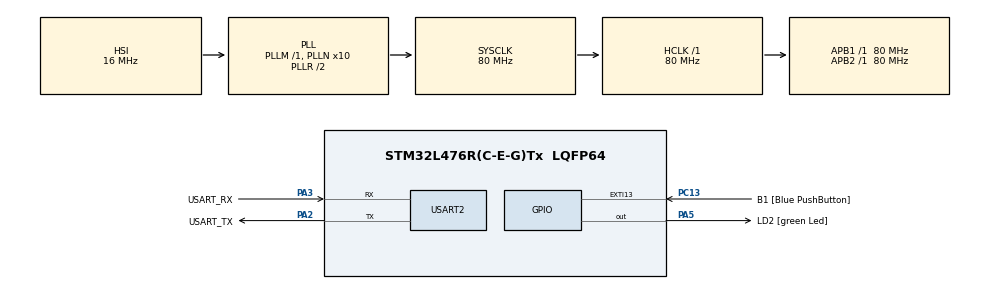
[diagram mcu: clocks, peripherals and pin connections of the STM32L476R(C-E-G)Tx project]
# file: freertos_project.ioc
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Mcu.Family=STM32L4
Mcu.Name=STM32L476R(C-E-G)Tx
Mcu.Package=LQFP64
NVIC.PriorityGroup=NVIC_PRIORITYGROUP_4
NVIC.TIM6_DAC_IRQn=true\:15\:0\:false\:false\:true\:false\:true\:true
NVIC.TimeBase=TIM6_DAC_IRQn
NVIC.TimeBaseIP=TIM6
PA13\ (JTMS-SWDIO).GPIO_Label=TMS
PA13\ (JTMS-SWDIO).Signal=SYS_JTMS-SWDIO
PA14\ (JTCK-SWCLK).GPIO_Label=TCK
PA14\ (JTCK-SWCLK).Signal=SYS_JTCK-SWCLK
PA2.GPIO_Label=USART_TX
PA2.GPIO_Mode=GPIO_MODE_AF_PP
PA2.GPIO_PuPd=GPIO_NOPULL
PA2.GPIO_Speed=GPIO_SPEED_FREQ_VERY_HIGH
PA2.Mode=Asynchronous
PA2.Signal=USART2_TX
PA3.GPIO_Label=USART_RX
PA3.GPIO_Mode=GPIO_MODE_AF_PP
PA3.GPIO_PuPd=GPIO_NOPULL
PA3.GPIO_Speed=GPIO_SPEED_FREQ_VERY_HIGH
PA3.Mode=Asynchronous
PA3.Signal=USART2_RX
PA5.GPIO_Label=LD2 [green Led]
PA5.GPIO_ModeDefaultOutputPP=GPIO_MODE_OUTPUT_PP
PA5.GPIO_PuPd=GPIO_NOPULL
PA5.GPIO_Speed=GPIO_SPEED_FREQ_LOW
PA5.Signal=GPIO_Output
PB3\ (JTDO-TRACESWO).GPIO_Label=SWO
PB3\ (JTDO-TRACESWO).Signal=SYS_JTDO-SWO
PC13.GPIO_Label=B1 [Blue PushButton]
PC13.GPIO_ModeDefaultEXTI=GPIO_MODE_IT_FALLING
PC13.GPIO_PuPd=GPIO_NOPULL
PC13.Signal=GPXTI13
PC14-OSC32_IN\ (PC14).Signal=RCC_OSC32_IN
PC15-OSC32_OUT\ (PC15).Signal=RCC_OSC32_OUT
PH0-OSC_IN\ (PH0).Signal=RCC_OSC_IN
PH1-OSC_OUT\ (PH1).Signal=RCC_OSC_OUT
ProjectManager.HeapSize=0x200
ProjectManager.StackSize=0x400
ProjectManager.TargetToolchain=STM32CubeIDE
RCC.ADCFreq_Value=64000000
RCC.AHBFreq_Value=80000000
RCC.APB1Freq_Value=80000000
RCC.APB1TimFreq_Value=80000000
RCC.APB2Freq_Value=80000000
RCC.APB2TimFreq_Value=80000000
RCC.CortexFreq_Value=80000000
RCC.HCLKFreq_Value=80000000
RCC.HSE_VALUE=8000000
RCC.HSI_VALUE=16000000
RCC.LSE_VALUE=32768
RCC.MSI_VALUE=4000000
RCC.PLLN=10
RCC.PLLSourceVirtual=RCC_PLLSOURCE_HSI
RCC.PREFETCH_ENABLE=1
RCC.SYSCLKFreq_VALUE=80000000
RCC.SYSCLKSource=RCC_SYSCLKSOURCE_PLLCLK
RCC.USBFreq_Value=64000000
RCC.VCOOutputFreq_Value=160000000
USART2.VirtualMode-Asynchronous=VM_ASYNC
VP_SYS_VS_tim6.Mode=TIM6
board=NUCLEO-L476RG

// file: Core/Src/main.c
/* USER CODE BEGIN Header */
/**
  ******************************************************************************
  * @file           : main.c
  * @brief          : Main program body
  ******************************************************************************
  * @attention
  *
  * Copyright (c) 2023 STMicroelectronics.
  * All rights reserved.
  *
  * This software is licensed under terms that can be found in the LICENSE file
  * in the root directory of this software component.
  * If no LICENSE file comes with this software, it is provided AS-IS.
  *
  ******************************************************************************
  */
/* USER CODE END Header */
#include "main.h"

/* USER CODE BEGIN Includes */
#include <stdio.h>
#include "FreeRTOS.h"
#include "task.h"
/* USER CODE END Includes */

UART_HandleTypeDef huart2;

void SystemClock_Config(void);
static void MX_GPIO_Init(void);
static void MX_USART2_UART_Init(void);
/* USER CODE BEGIN PFP */
static void task1_handler(void* parameters);
static void task2_handler(void* parameters);
/* USER CODE END PFP */

int main(void)
{
  /* USER CODE BEGIN 1 */
  TaskHandle_t task1_handle;
  TaskHandle_t task2_handle;

  BaseType_t status;
  /* USER CODE END 1 */

  /* MCU Configuration--------------------------------------------------------*/

  /* Reset of all peripherals, Initializes the Flash interface and the Systick. */
  HAL_Init();

  /* Configure the system clock */
  SystemClock_Config();

  /* Initialize all configured peripherals */
  MX_GPIO_Init();
  MX_USART2_UART_Init();
  /* USER CODE BEGIN 2 */
  status = xTaskCreate(task1_handler, "Task-1", 200, "Hello world from Task-1\r\n", 2, &task1_handle);
  configASSERT(status == pdPASS);

  status = xTaskCreate(task2_handler, "Task-2", 200, "Hello world from Task-2\r\n", 2, &task2_handle);
  configASSERT(status == pdPASS);

  //start the freeRTOS scheduler
  vTaskStartScheduler();

  //if the control comes here, then the launch of the scheduler has failed due to
  //insufficient memory in heap
  /* USER CODE END 2 */

  /* Infinite loop */
  while (1)
  {

  }
}

void SystemClock_Config(void)
{
  RCC_OscInitTypeDef RCC_OscInitStruct = {0};
  RCC_ClkInitTypeDef RCC_ClkInitStruct = {0};

  /** Configure the main internal regulator output voltage
  */
  if (HAL_PWREx_ControlVoltageScaling(PWR_REGULATOR_VOLTAGE_SCALE1) != HAL_OK)
  {
    Error_Handler();
  }

  /** Initializes the RCC Oscillators according to the specified parameters
  * in the RCC_OscInitTypeDef structure.
  */
  RCC_OscInitStruct.OscillatorType = RCC_OSCILLATORTYPE_HSI;
  RCC_OscInitStruct.HSIState = RCC_HSI_ON;
  RCC_OscInitStruct.HSICalibrationValue = RCC_HSICALIBRATION_DEFAULT;
  RCC_OscInitStruct.PLL.PLLState = RCC_PLL_ON;
  RCC_OscInitStruct.PLL.PLLSource = RCC_PLLSOURCE_HSI;
  RCC_OscInitStruct.PLL.PLLM = 1;
  RCC_OscInitStruct.PLL.PLLN = 10;
  RCC_OscInitStruct.PLL.PLLP = RCC_PLLP_DIV7;
  RCC_OscInitStruct.PLL.PLLQ = RCC_PLLQ_DIV2;
  RCC_OscInitStruct.PLL.PLLR = RCC_PLLR_DIV2;
  if (HAL_RCC_OscConfig(&RCC_OscInitStruct) != HAL_OK)
  {
    Error_Handler();
  }

  /** Initializes the CPU, AHB and APB buses clocks
  */
  RCC_ClkInitStruct.ClockType = RCC_CLOCKTYPE_HCLK|RCC_CLOCKTYPE_SYSCLK
                              |RCC_CLOCKTYPE_PCLK1|RCC_CLOCKTYPE_PCLK2;
  RCC_ClkInitStruct.SYSCLKSource = RCC_SYSCLKSOURCE_PLLCLK;
  RCC_ClkInitStruct.AHBCLKDivider = RCC_SYSCLK_DIV1;
  RCC_ClkInitStruct.APB1CLKDivider = RCC_HCLK_DIV1;
  RCC_ClkInitStruct.APB2CLKDivider = RCC_HCLK_DIV1;

  if (HAL_RCC_ClockConfig(&RCC_ClkInitStruct, FLASH_LATENCY_4) != HAL_OK)
  {
    Error_Handler();
  }
}

static void MX_USART2_UART_Init(void)
{

  huart2.Instance = USART2;
  huart2.Init.BaudRate = 115200;
  huart2.Init.WordLength = UART_WORDLENGTH_8B;
  huart2.Init.StopBits = UART_STOPBITS_1;
  huart2.Init.Parity = UART_PARITY_NONE;
  huart2.Init.Mode = UART_MODE_TX_RX;
  huart2.Init.HwFlowCtl = UART_HWCONTROL_NONE;
  huart2.Init.OverSampling = UART_OVERSAMPLING_16;
  huart2.Init.OneBitSampling = UART_ONE_BIT_SAMPLE_DISABLE;
  huart2.AdvancedInit.AdvFeatureInit = UART_ADVFEATURE_NO_INIT;
  if (HAL_UART_Init(&huart2) != HAL_OK)
  {
    Error_Handler();
  }

}

static void MX_GPIO_Init(void)
{
  GPIO_InitTypeDef GPIO_InitStruct = {0};

  /* GPIO Ports Clock Enable */
  __HAL_RCC_GPIOC_CLK_ENABLE();
  __HAL_RCC_GPIOH_CLK_ENABLE();
  __HAL_RCC_GPIOA_CLK_ENABLE();
  __HAL_RCC_GPIOB_CLK_ENABLE();

  /*Configure GPIO pin Output Level */
  HAL_GPIO_WritePin(LD2_GPIO_Port, LD2_Pin, GPIO_PIN_RESET);

  /*Configure GPIO pin : B1_Pin */
  GPIO_InitStruct.Pin = B1_Pin;
  GPIO_InitStruct.Mode = GPIO_MODE_IT_FALLING;
  GPIO_InitStruct.Pull = GPIO_NOPULL;
  HAL_GPIO_Init(B1_GPIO_Port, &GPIO_InitStruct);

  /*Configure GPIO pin : LD2_Pin */
  GPIO_InitStruct.Pin = LD2_Pin;
  GPIO_InitStruct.Mode = GPIO_MODE_OUTPUT_PP;
  GPIO_InitStruct.Pull = GPIO_NOPULL;
  GPIO_InitStruct.Speed = GPIO_SPEED_FREQ_LOW;
  HAL_GPIO_Init(LD2_GPIO_Port, &GPIO_InitStruct);

}

/* USER CODE BEGIN 4 */
static void task1_handler(void* parameters)
{
	//char msg[100];

	while(1)
	{
        int test1=0;
        test1++;
        (void)test1;
		//uint8_t Test[] = "Hello World !!!\r\n"; //Data to send
        //HAL_UART_Transmit(&huart2,(char*)parameters,100,10);// Sending in normal mode
        //HAL_Delay(1000);
		//printf(msg,100,"%s\n", (char*)parameters);
		//SEGGER_SYSVIEW_PrintfTarget(msg);
		//taskYIELD();
	}
}

static void task2_handler(void* parameters)
{
	//char msg[100];
	while(1)
	{
        int test2=0;
        test2++;
        (void)test2;
        //HAL_UART_Transmit(&huart2,(char*)parameters,100,10);// Sending in normal mode
        //HAL_Delay(1000);
		//printf(msg,100,"%s\n", (char*)parameters);
		//SEGGER_SYSVIEW_PrintfTarget(msg);
		//taskYIELD();
	}
}
/* USER CODE END 4 */

void HAL_TIM_PeriodElapsedCallback(TIM_HandleTypeDef *htim)
{
  if (htim->Instance == TIM6) {
    HAL_IncTick();
  }
}

void Error_Handler(void)
{
  __disable_irq();
  while (1)
  {
  }
}
